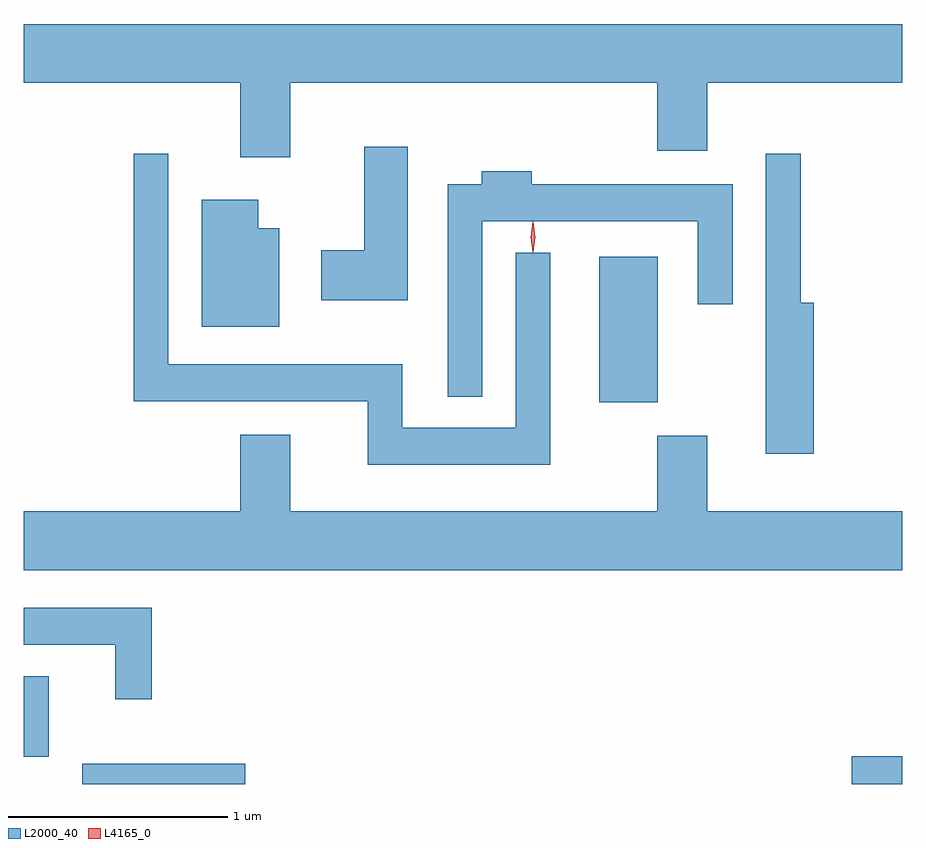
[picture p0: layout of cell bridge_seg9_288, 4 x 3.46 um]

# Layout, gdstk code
import gdstk
lib = gdstk.Library(unit=1e-6, precision=1e-09)
def R(c, l, rs):  # rectangles x0, y0, x1, y1
    for r in rs: c.add(gdstk.rectangle(r[:2], r[2:], *l))
def P(c, l, *ps):  # polygons
    for p in ps: c.add(gdstk.Polygon(p, *l))
L2000_40 = (2000, 40)
L4165_0 = (4165, 0)

bridge_seg9_288 = lib.new_cell('bridge_seg9_288')
R(bridge_seg9_288, L2000_40, [(1023.201,2064.102,1023.944,2064.194), (1026.706,2064.102,1026.936,2064.229), (1022.936,2064.226,1023.049,2064.593), (1025.556,2065.841,1025.824,2066.504)])
P(bridge_seg9_288, L2000_40, [(1024.149,2067.296),(1025.821,2067.296),(1025.821,2066.986),(1026.049,2066.986),(1026.049,2067.296),(1026.936,2067.296),(1026.936,2067.564),(1022.936,2067.564),(1022.936,2067.296),(1023.921,2067.296),(1023.921,2066.956),(1024.149,2066.956)],
  [(1024.684,2067.004),(1024.486,2067.004),(1024.486,2066.534),(1024.291,2066.534),(1024.291,2066.306),(1024.684,2066.306)],
  [(1025.334,2066.523),(1025.176,2066.523),(1025.176,2065.724),(1024.659,2065.724),(1024.659,2066.014),(1023.594,2066.014),(1023.594,2066.972),(1023.436,2066.972),(1023.436,2065.846),(1024.501,2065.846),(1024.501,2065.556),(1025.334,2065.556)],
  [(1026.534,2066.294),(1026.474,2066.294),(1026.474,2066.972),(1026.316,2066.972),(1026.316,2065.606),(1026.534,2065.606)],
  [(1025.024,2066.666),(1026.006,2066.666),(1026.006,2066.288),(1026.164,2066.288),(1026.164,2066.834),(1025.249,2066.834),(1025.249,2066.894),(1025.021,2066.894),(1025.021,2066.834),(1024.866,2066.834),(1024.866,2065.867),(1025.024,2065.867)],
  [(1024.099,2066.634),(1024.004,2066.634),(1024.004,2066.764),(1023.746,2066.764),(1023.746,2066.186),(1024.099,2066.186)],
  [(1026.936,2065.344),(1026.049,2065.344),(1026.049,2065.689),(1025.821,2065.689),(1025.821,2065.344),(1024.149,2065.344),(1024.149,2065.694),(1023.921,2065.694),(1023.921,2065.344),(1022.936,2065.344),(1022.936,2065.076),(1026.936,2065.076)],
  [(1023.519,2064.904),(1022.936,2064.904),(1022.936,2064.736),(1023.351,2064.736),(1023.351,2064.488),(1023.519,2064.488)])
P(bridge_seg9_288, L4165_0, [(1025.254,2066.524),(1025.254,2066.524),(1025.244,2066.593),(1025.254,2066.663),(1025.254,2066.663),(1025.255,2066.663),(1025.264,2066.593),(1025.255,2066.524)])

lib.write_gds('bridge_seg9_288.gds')
